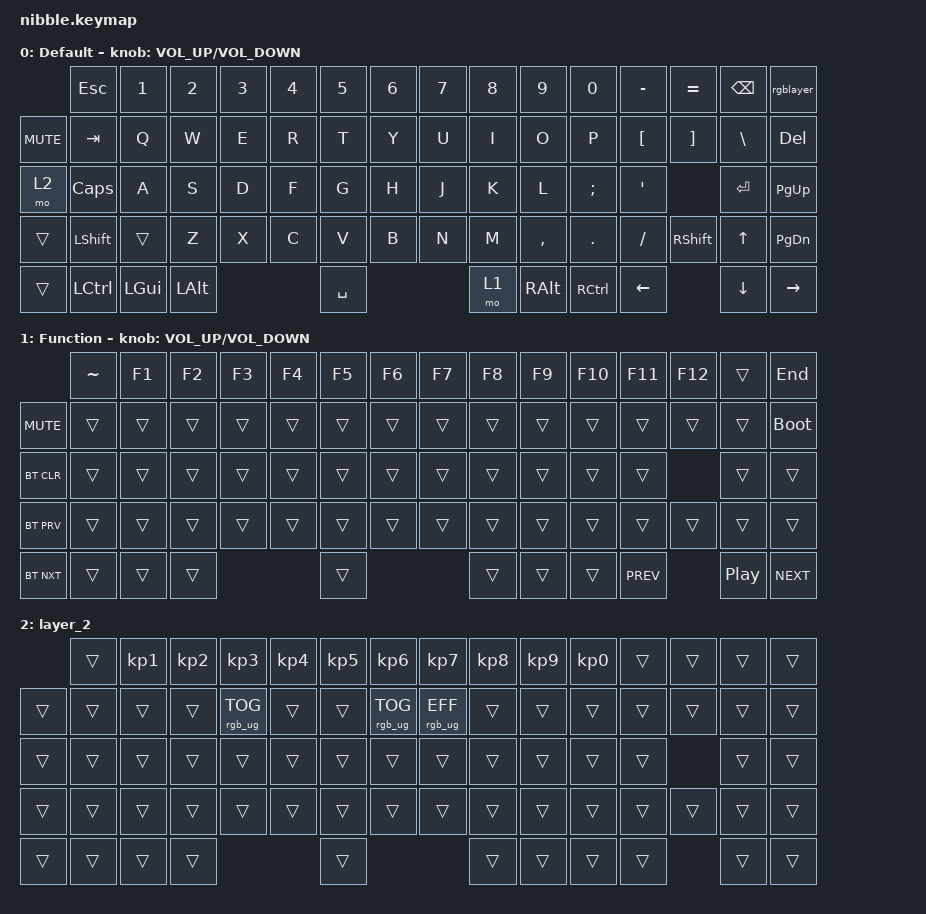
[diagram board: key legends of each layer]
/*
 * Copyright (c) 2020 The ZMK Contributors
 *
 * SPDX-License-Identifier: MIT
 */

# include <behaviors.dtsi>
# include <dt-bindings/zmk/bt.h>
# include <dt-bindings/zmk/keys.h>
# include <dt-bindings/zmk/rgb.h>
#include <behaviors.dtsi>
#include <dt-bindings/zmk/bt.h>
#include <dt-bindings/zmk/keys.h>
#include <dt-bindings/zmk/rgb.h>

/ {
    sensors: sensors {
        compatible = "zmk,keymap-sensors";
        sensors = <&encoder_1>;
        triggers-per-rotation = <20>;
    };

    combos {
        compatible = "zmk,combos";

        Sleep {
            bindings = <&kp C_SLEEP_MODE>;
            key-positions = <18 31>;
        };

        rgb {
            bindings = <&rgb_ug RGB_TOG>;
            key-positions = <14 20>;
        };
    };

    macros {
        rgblayer: rgblayer {
            compatible = "zmk,behavior-macro";
            #binding-cells = <0>;
            bindings =
                <&macro_press>,
                <&mo 2>,
                <&macro_tap>,
                <&rgb_ug RGB_COLOR_HSB(0,100,50)>,
                <&macro_pause_for_release>,
                <&macro_release>,
                <&mo 2>,
                <&macro_tap>,
                <&rgb_ug RGB_COLOR_HSB(0,1,0)>;

            label = "RGBLAYER";
        };
    };

    keymap {
        compatible = "zmk,keymap";

        default_layer {
            display-name = "Default";
            sensor-bindings = <&inc_dec_kp C_VOLUME_UP C_VOLUME_DOWN>;
            bindings = <
            &kp ESC    &kp N1    &kp N2    &kp N3  &kp N4  &kp N5     &kp N6  &kp N7  &kp N8  &kp N9     &kp N0     &kp MINUS  &kp EQUAL  &kp BSPC  &rgblayer
&kp C_MUTE  &kp TAB    &kp Q     &kp W     &kp E   &kp R   &kp T      &kp Y   &kp U   &kp I   &kp O      &kp P      &kp LBKT   &kp RBKT   &kp BSLH  &kp DEL
&mo 2       &kp CLCK   &kp A     &kp S     &kp D   &kp F   &kp G      &kp H   &kp J   &kp K   &kp L      &kp SEMI   &kp SQT               &kp RET   &kp PG_UP
&trans      &kp LSHFT  &trans    &kp Z     &kp X   &kp C   &kp V      &kp B   &kp N   &kp M   &kp COMMA  &kp DOT    &kp FSLH   &kp RSHFT  &kp UP    &kp PG_DN
&trans      &kp LCTRL  &kp LGUI  &kp LALT                  &kp SPACE                  &mo 1   &kp RALT   &kp RCTRL  &kp LEFT              &kp DOWN  &kp RIGHT
            >;
        };

        function_layer {
            display-name = "Function";
            sensor-bindings = <&inc_dec_kp C_VOLUME_UP C_VOLUME_DOWN>;
            bindings = <
            &kp TILDE  &kp F1  &kp F2  &kp F3  &kp F4  &kp F5  &kp F6  &kp F7  &kp F8  &kp F9  &kp F10  &kp F11     &kp F12  &trans    &kp END
&kp C_MUTE  &trans     &trans  &trans  &trans  &trans  &trans  &trans  &trans  &trans  &trans  &trans   &trans      &trans   &trans    &bootloader
&bt BT_CLR  &trans     &trans  &trans  &trans  &trans  &trans  &trans  &trans  &trans  &trans  &trans   &trans               &trans    &trans
&bt BT_PRV  &trans     &trans  &trans  &trans  &trans  &trans  &trans  &trans  &trans  &trans  &trans   &trans      &trans   &trans    &trans
&bt BT_NXT  &trans     &trans  &trans                  &trans                  &trans  &trans  &trans   &kp C_PREV           &kp C_PP  &kp C_NEXT
            >;
        };

        layer_2 {
            bindings = <
        &trans  &kp KP_NUMBER_1  &kp KP_NUMBER_2  &kp KP_NUMBER_3  &kp KP_NUMBER_4  &kp KP_NUMBER_5  &kp KP_NUMBER_6  &kp KP_NUMBER_7  &kp KP_NUMBER_8  &kp KP_NUMBER_9  &kp KP_NUMBER_0  &trans  &trans  &trans  &trans
&trans  &trans  &trans           &trans           &rgb_ug RGB_TOG  &trans           &trans           &rgb_ug RGB_TOG  &rgb_ug RGB_EFF  &trans           &trans           &trans           &trans  &trans  &trans  &trans
&trans  &trans  &trans           &trans           &trans           &trans           &trans           &trans           &trans           &trans           &trans           &trans           &trans          &trans  &trans
&trans  &trans  &trans           &trans           &trans           &trans           &trans           &trans           &trans           &trans           &trans           &trans           &trans  &trans  &trans  &trans
&trans  &trans  &trans           &trans                                             &trans                                             &trans           &trans           &trans           &trans          &trans  &trans
            >;
        };
    };
};
